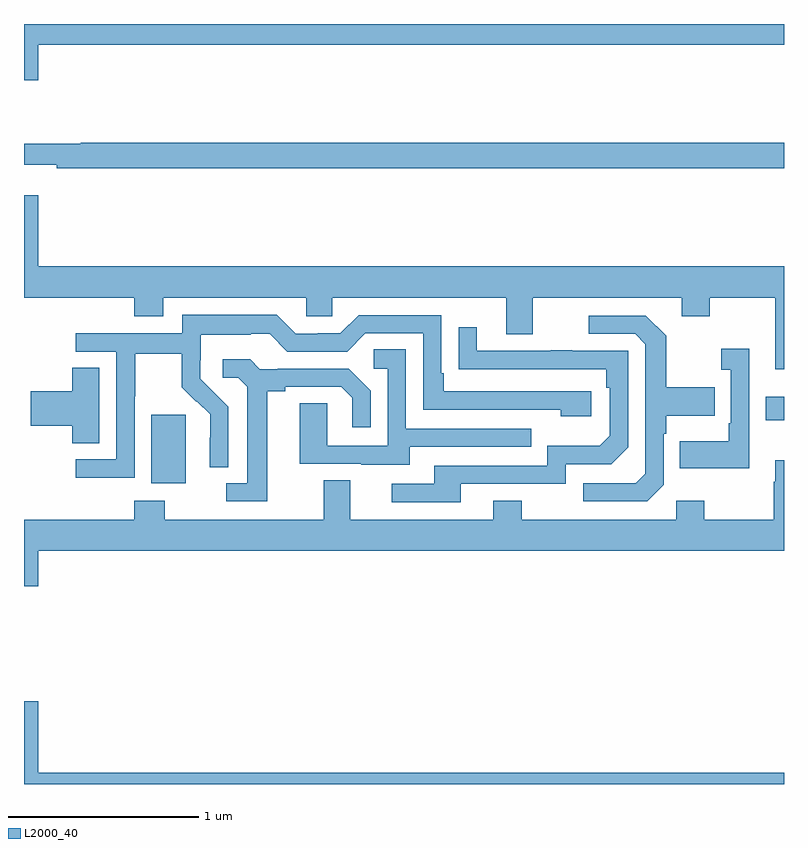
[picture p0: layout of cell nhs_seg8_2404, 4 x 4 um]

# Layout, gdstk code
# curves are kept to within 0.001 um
import gdstk
lib = gdstk.Library(unit=1e-6, precision=1e-09)
def R(c, l, rs):  # rectangles x0, y0, x1, y1
    for r in rs: c.add(gdstk.rectangle(r[:2], r[2:], *l))
def P(c, l, *ps):  # polygons
    for p in ps: c.add(gdstk.Polygon(p, *l))
L2000_40 = (2000, 40)

nhs_seg8_2404 = lib.new_cell('nhs_seg8_2404')
R(nhs_seg8_2404, L2000_40, [(261.671,1155.482,261.85,1155.843), (264.903,1155.815,265,1155.937)])
P(nhs_seg8_2404, L2000_40, [(261.076,1157.792),(265,1157.792),(265,1157.9),(261,1157.9),(261,1157.604),(261.076,1157.604)],
  [(265,1157.276),(261.299,1157.276),(261.299,1157.269),(261,1157.269),(261,1157.159),(261.172,1157.159),(261.172,1157.14),(265,1157.14)],
  [(265,1156.624),(261.076,1156.624),(261.076,1156.999),(261,1156.999),(261,1156.46),(261.581,1156.46),(261.581,1156.361),(261.733,1156.361),(261.733,1156.46),(262.485,1156.46),(262.485,1156.362),(262.623,1156.362),(262.623,1156.46),(263.537,1156.46),(263.537,1156.266),(263.677,1156.266),(263.677,1156.46),(264.461,1156.46),(264.461,1156.361),(264.609,1156.361),(264.609,1156.46),(264.953,1156.46),(264.953,1156.083),(265,1156.083)],
  [(261.582,1155.94),(261.585,1155.94),(261.585,1156.164),(261.829,1156.164),(261.829,1155.989),(261.906,1155.912),(261.909,1155.915),(261.98,1155.845),(261.98,1155.722),(261.978,1155.722),(261.978,1155.568),(262.074,1155.568),(262.074,1155.886),(261.928,1156.034),(261.928,1156.131),(261.93,1156.131),(261.93,1156.265),(262.193,1156.265),(262.193,1156.269),(262.293,1156.269),(262.386,1156.176),(262.701,1156.176),(262.797,1156.272),(263.1,1156.272),(263.1,1155.87),(263.825,1155.87),(263.825,1155.836),(263.986,1155.836),(263.986,1155.966),(263.209,1155.966),(263.209,1156.063),(263.196,1156.063),(263.196,1156.368),(262.761,1156.368),(262.665,1156.272),(262.547,1156.272),(262.547,1156.269),(262.431,1156.269),(262.331,1156.369),(261.834,1156.369),(261.834,1156.272),(261.273,1156.272),(261.273,1156.176),(261.486,1156.176),(261.486,1155.609),(261.273,1155.609),(261.273,1155.511),(261.582,1155.511)],
  [(264.366,1155.474),(264.366,1155.743),(264.379,1155.743),(264.379,1155.839),(264.635,1155.839),(264.635,1155.987),(264.379,1155.987),(264.379,1156.259),(264.273,1156.365),(263.973,1156.365),(263.973,1156.269),(264.216,1156.269),(264.27,1156.215),(264.27,1155.534),(264.219,1155.483),(263.943,1155.483),(263.943,1155.387),(264.279,1155.387)],
  [(263.299,1155.48),(263.85,1155.48),(263.85,1155.582),(264.09,1155.582),(264.18,1155.672),(264.18,1156.179),(263.885,1156.179),(263.885,1156.184),(263.773,1156.184),(263.773,1156.179),(263.383,1156.179),(263.383,1156.303),(263.287,1156.303),(263.287,1156.084),(264.064,1156.083),(264.064,1155.986),(264.084,1155.986),(264.084,1155.732),(264.031,1155.679),(263.754,1155.679),(263.754,1155.576),(263.159,1155.576),(263.159,1155.48),(262.935,1155.48),(262.935,1155.384),(263.299,1155.384)],
  [(264.816,1156.192),(264.669,1156.192),(264.669,1156.079),(264.72,1156.079),(264.72,1155.799),(264.708,1155.799),(264.708,1155.703),(264.451,1155.703),(264.451,1155.563),(264.816,1155.563)],
  [(263.029,1155.675),(263.669,1155.675),(263.669,1155.771),(263.01,1155.771),(263.01,1156.187),(262.842,1156.187),(262.842,1156.086),(262.914,1156.086),(262.914,1155.681),(262.596,1155.681),(262.596,1155.905),(262.451,1155.905),(262.451,1155.585),(262.775,1155.585),(262.775,1155.581),(263.029,1155.581)],
  [(262.279,1155.968),(262.375,1155.968),(262.375,1155.99),(262.67,1155.99),(262.727,1155.933),(262.727,1155.777),(262.824,1155.777),(262.824,1155.97),(262.708,1156.086),(262.336,1156.086),(262.336,1156.083),(262.242,1156.083),(262.19,1156.135),(262.047,1156.135),(262.047,1156.038),(262.128,1156.038),(262.175,1155.991),(262.175,1155.483),(262.065,1155.483),(262.065,1155.387),(262.279,1155.387)],
  [(261.397,1156.091),(261.254,1156.091),(261.254,1155.968),(261.036,1155.968),(261.036,1155.785),(261.254,1155.785),(261.254,1155.694),(261.397,1155.694)],
  [(261.076,1155.128),(265,1155.128),(265,1155.604),(264.953,1155.604),(264.953,1155.491),(264.946,1155.491),(264.946,1155.292),(264.579,1155.292),(264.579,1155.391),(264.432,1155.391),(264.432,1155.292),(263.619,1155.292),(263.619,1155.391),(263.471,1155.391),(263.471,1155.292),(262.717,1155.292),(262.717,1155.5),(262.577,1155.5),(262.577,1155.292),(261.741,1155.292),(261.741,1155.391),(261.581,1155.391),(261.581,1155.292),(261,1155.292),(261,1154.94),(261.076,1154.94)],
  [(265,1153.96),(261.076,1153.96),(261.076,1154.335),(261,1154.335),(261,1153.9),(265,1153.9)])

lib.write_gds('nhs_seg8_2404.gds')
